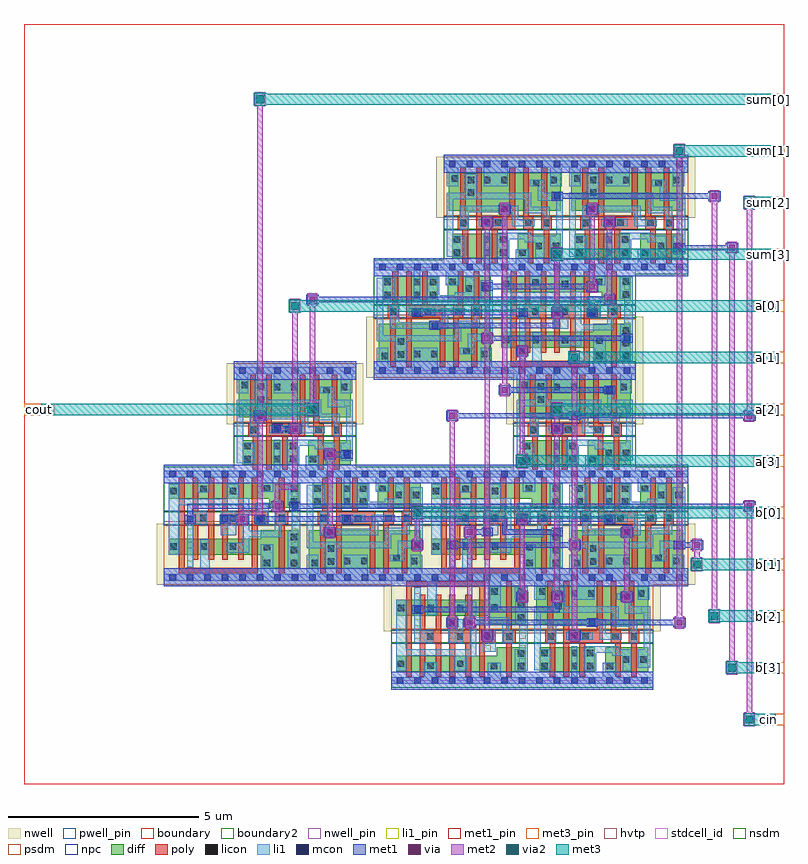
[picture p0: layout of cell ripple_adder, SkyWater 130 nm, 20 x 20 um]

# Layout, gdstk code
import gdstk
lib = gdstk.Library(unit=1e-6, precision=1e-09)
def R(c, l, rs):  # rectangles x0, y0, x1, y1
    for r in rs: c.add(gdstk.rectangle(r[:2], r[2:], *l))
def A(c, l, x, y, w, h, nx, ny, dx, dy):  # array of equal rectangles
    R(c, l, [(x+i*dx, y+j*dy, x+i*dx+w, y+j*dy+h) for i in range(nx) for j in range(ny)])
def P(c, l, *ps):  # polygons
    for p in ps: c.add(gdstk.Polygon(p, *l))
nwell_pin = (64, 16)
nwell = (64, 20)
diff = (65, 20)
poly = (66, 20)
licon = (66, 44)
li1_pin = (67, 16)
li1 = (67, 20)
mcon = (67, 44)
met1_pin = (68, 16)
met1 = (68, 20)
via = (68, 44)
met2 = (69, 20)
via2 = (69, 44)
met3_pin = (70, 16)
met3 = (70, 20)
hvtp = (78, 44)
stdcell_id = (81, 4)
nsdm = (93, 44)
psdm = (94, 20)
npc = (95, 20)
pwell_pin = (122, 16)
boundary = (235, 4)
boundary2 = (236, 0)

via_m2m3_pr = lib.new_cell('VIA_M2M3_PR')
R(via_m2m3_pr, met2, [(-0.14,-0.185,0.14,0.185)])
R(via_m2m3_pr, via2, [(-0.1,-0.1,0.1,0.1)])
R(via_m2m3_pr, met3, [(-0.165,-0.165,0.165,0.165)])

via_m1m2_pr = lib.new_cell('VIA_M1M2_PR')
R(via_m1m2_pr, met1, [(-0.16,-0.13,0.16,0.13)])
R(via_m1m2_pr, via, [(-0.075,-0.075,0.075,0.075)])
R(via_m1m2_pr, met2, [(-0.13,-0.16,0.13,0.16)])

via_l1m1_pr_mr = lib.new_cell('VIA_L1M1_PR_MR')
R(via_l1m1_pr_mr, li1, [(-0.085,-0.085,0.085,0.085)])
R(via_l1m1_pr_mr, mcon, [(-0.085,-0.085,0.085,0.085)])
R(via_l1m1_pr_mr, met1, [(-0.145,-0.115,0.145,0.115)])

sky130_fd_sc_hd__xnor2_1 = lib.new_cell('sky130_fd_sc_hd__xnor2_1')
R(sky130_fd_sc_hd__xnor2_1, nwell_pin, [(0.145,2.635,0.315,2.805)])
R(sky130_fd_sc_hd__xnor2_1, nwell, [(-0.19,1.305,3.41,2.91)])
R(sky130_fd_sc_hd__xnor2_1, diff, [(0.235,0.235,1.685,0.885), (1.955,0.235,3.085,0.885), (0.135,1.485,3.085,2.485)])
P(sky130_fd_sc_hd__xnor2_1, poly, [(2.635,0.105),(2.635,0.995),(2.575,0.995),(2.575,2.615),(2.725,2.615),(2.725,1.325),(2.845,1.325),(2.845,0.995),(2.785,0.995),(2.785,0.105)],
  [(2.215,0.105),(2.215,0.995),(2.095,0.995),(2.095,2.615),(2.245,2.615),(2.245,1.325),(2.365,1.325),(2.365,0.105)],
  [(0.855,0.105),(0.855,2.615),(1.005,2.615),(1.005,1.325),(1.735,1.325),(1.735,2.615),(1.885,2.615),(1.885,0.995),(1.425,0.995),(1.425,0.105),(1.275,0.105),(1.275,0.995),(1.005,0.995),(1.005,0.105)],
  [(0.495,0.105),(0.495,0.995),(0.375,0.995),(0.375,1.325),(0.435,1.325),(0.435,2.615),(0.585,2.615),(0.585,1.325),(0.645,1.325),(0.645,0.105)])
R(sky130_fd_sc_hd__xnor2_1, licon, [(0.275,0.305,0.445,0.475), (1.055,0.305,1.225,0.475), (1.475,0.305,1.645,0.475), (1.995,0.305,2.165,0.475), (2.415,0.47,2.585,0.64), (2.875,0.47,3.045,0.64), (0.275,0.645,0.445,0.815), (1.055,0.645,1.225,0.815), (1.475,0.645,1.645,0.815), (0.425,1.075,0.595,1.245), (1.01,1.075,1.18,1.245), (1.35,1.075,1.52,1.245), (2.145,1.075,2.315,1.245), (2.625,1.075,2.795,1.245), (0.635,1.875,0.805,2.045), (2.355,2.125,2.525,2.295), (1.055,2.205,1.225,2.375), (1.515,2.205,1.685,2.375), (2.815,2.205,2.985,2.375), (0.635,2.215,0.805,2.385), (0.215,2.255,0.385,2.425)])
R(sky130_fd_sc_hd__xnor2_1, li1_pin, [(1.065,1.105,1.235,1.275), (0.605,1.445,0.775,1.615), (2.905,1.785,3.075,1.955)])
R(sky130_fd_sc_hd__xnor2_1, li1, [(0.93,1.075,1.625,1.275)])
P(sky130_fd_sc_hd__xnor2_1, li1, [(2.815,0.345),(2.815,0.825),(2.965,0.825),(2.965,1.755),(2.475,1.755),(2.475,2.125),(2.265,2.125),(2.265,2.295),(2.645,2.295),(2.645,1.955),(3.135,1.955),(3.135,0.345)],
  [(0.085,0.28),(0.085,1.955),(0.555,1.955),(0.555,2.465),(0.885,2.465),(0.885,1.955),(2.305,1.955),(2.305,1.585),(2.795,1.585),(2.795,0.995),(2.625,0.995),(2.625,1.415),(2.135,1.415),(2.135,1.785),(0.255,1.785),(0.255,0.825),(0.55,0.825),(0.55,0.28)],
  [(1.395,0.255),(1.395,0.905),(2.305,0.905),(2.305,0.825),(2.645,0.825),(2.645,0.255),(2.415,0.255),(2.415,0.655),(2.135,0.655),(2.135,0.735),(1.725,0.735),(1.725,0.255)],
  [(0.425,0.995),(0.425,1.615),(1.965,1.615),(1.965,1.245),(2.395,1.245),(2.395,1.075),(1.795,1.075),(1.795,1.445),(0.67,1.445),(0.67,0.995)],
  [(0.085,2.125),(0.085,2.635),(0,2.635),(0,2.805),(3.22,2.805),(3.22,2.635),(3.115,2.635),(3.115,2.125),(2.815,2.125),(2.815,2.635),(1.685,2.635),(1.685,2.125),(1.055,2.125),(1.055,2.635),(0.385,2.635),(0.385,2.125)],
  [(0,-0.085),(0,0.085),(1.055,0.085),(1.055,0.905),(1.225,0.905),(1.225,0.085),(1.895,0.085),(1.895,0.475),(2.245,0.475),(2.245,0.085),(3.22,0.085),(3.22,-0.085)])
A(sky130_fd_sc_hd__xnor2_1, mcon, 0.145, -0.085, 0.17, 0.17, 7, 2, 0.46, 2.72)
R(sky130_fd_sc_hd__xnor2_1, met1_pin, [(0.145,-0.085,0.315,0.085), (0.145,2.635,0.315,2.805)])
R(sky130_fd_sc_hd__xnor2_1, hvtp, [(0,1.25,3.22,2.72)])
R(sky130_fd_sc_hd__xnor2_1, stdcell_id, [(0,0,3.22,2.72)])
R(sky130_fd_sc_hd__xnor2_1, nsdm, [(0,-0.19,3.22,1.015)])
R(sky130_fd_sc_hd__xnor2_1, psdm, [(0,1.355,3.22,2.91)])
R(sky130_fd_sc_hd__xnor2_1, npc, [(0,0.975,3.22,1.345)])
R(sky130_fd_sc_hd__xnor2_1, pwell_pin, [(0.145,-0.085,0.315,0.085)])
R(sky130_fd_sc_hd__xnor2_1, boundary2, [(0,0,3.22,2.72)])
sky130_fd_sc_hd__xnor2_1.add(gdstk.FlexPath([(0,0),(3.22,0)], 0.48, ends="flush", simple_path=True, layer=68, datatype=20))  # met1
sky130_fd_sc_hd__xnor2_1.add(gdstk.FlexPath([(0,2.72),(3.22,2.72)], 0.48, ends="flush", simple_path=True, layer=68, datatype=20))  # met1
sky130_fd_sc_hd__xnor2_1.add(gdstk.Label('B', (0.69,1.53), layer=67, texttype=5))
sky130_fd_sc_hd__xnor2_1.add(gdstk.Label('Y', (2.99,1.87), layer=67, texttype=5))
sky130_fd_sc_hd__xnor2_1.add(gdstk.Label('A', (1.15,1.19), layer=67, texttype=5))
sky130_fd_sc_hd__xnor2_1.add(gdstk.Label('VNB', (0.23,0), layer=64, texttype=59))
sky130_fd_sc_hd__xnor2_1.add(gdstk.Label('VPB', (0.23,2.72), layer=64, texttype=5))
sky130_fd_sc_hd__xnor2_1.add(gdstk.Label('VGND', (0.23,0), layer=68, texttype=5))
sky130_fd_sc_hd__xnor2_1.add(gdstk.Label('VPWR', (0.23,2.72), layer=68, texttype=5))
sky130_fd_sc_hd__xnor2_1.add(gdstk.Label('xnor2_1', (0,0), layer=83, texttype=44))

sky130_fd_sc_hd__maj3_1 = lib.new_cell('sky130_fd_sc_hd__maj3_1')
R(sky130_fd_sc_hd__maj3_1, nwell_pin, [(0.15,2.635,0.32,2.805)])
R(sky130_fd_sc_hd__maj3_1, nwell, [(-0.19,1.305,3.87,2.91)])
P(sky130_fd_sc_hd__maj3_1, diff, [(0.135,0.235),(0.135,0.655),(2.78,0.655),(2.78,0.885),(3.545,0.885),(3.545,0.235)],
  [(2.555,1.485),(2.555,1.705),(0.135,1.705),(0.135,2.125),(2.595,2.125),(2.595,2.485),(3.545,2.485),(3.545,1.485)])
P(sky130_fd_sc_hd__maj3_1, poly, [(3.03,0.105),(3.03,0.995),(2.95,0.995),(2.95,1.325),(3.03,1.325),(3.03,2.615),(3.18,2.615),(3.18,1.325),(3.28,1.325),(3.28,0.995),(3.18,0.995),(3.18,0.105)],
  [(0.395,0.105),(0.395,2.615),(2.465,2.615),(2.465,1.325),(2.74,1.325),(2.74,0.995),(2.465,0.995),(2.465,0.105),(2.315,0.105),(2.315,2.465),(0.545,2.465),(0.545,0.105)],
  [(1.535,0.105),(1.535,2.255),(1.685,2.255),(1.685,1.325),(1.955,1.325),(1.955,2.255),(2.105,2.255),(2.105,0.105),(1.955,0.105),(1.955,0.995),(1.685,0.995),(1.685,0.105)],
  [(0.755,0.105),(0.755,2.255),(0.905,2.255),(0.905,1.325),(1.175,1.325),(1.175,2.255),(1.325,2.255),(1.325,0.105),(1.175,0.105),(1.175,0.995),(0.905,0.995),(0.905,0.105)])
A(sky130_fd_sc_hd__maj3_1, licon, 3.335, 1.575, 0.17, 0.17, 1, 3, 0, 0.34)
A(sky130_fd_sc_hd__maj3_1, licon, 0.175, 1.83, 0.17, 0.17, 3, 1, 0.78, 0)
R(sky130_fd_sc_hd__maj3_1, licon, [(3.335,0.295,3.505,0.465), (2.625,0.3,2.795,0.47), (0.955,0.315,1.125,0.485), (0.175,0.36,0.345,0.53), (1.735,0.36,1.905,0.53), (3.335,0.635,3.505,0.805), (0.955,1.075,1.125,1.245), (1.735,1.075,1.905,1.245), (2.49,1.075,2.66,1.245), (3.03,1.075,3.2,1.245), (2.635,1.845,2.805,2.015), (2.635,2.255,2.805,2.425)])
A(sky130_fd_sc_hd__maj3_1, li1_pin, 0.61, 1.105, 0.17, 0.17, 4, 1, 0.92, 0)
A(sky130_fd_sc_hd__maj3_1, li1_pin, 0.61, 1.445, 0.17, 0.17, 1, 3, 0, 0.34)
R(sky130_fd_sc_hd__maj3_1, li1_pin, [(3.37,0.425,3.54,0.595), (2.45,0.765,2.62,0.935), (3.37,0.765,3.54,0.935), (1.53,1.445,1.7,1.615), (3.37,1.445,3.54,1.615), (3.37,1.785,3.54,1.955)])
R(sky130_fd_sc_hd__maj3_1, li1, [(2.415,0.765,2.755,1.325), (1.5,0.995,1.905,1.615)])
P(sky130_fd_sc_hd__maj3_1, li1, [(0.955,1.715),(0.955,2.635),(0,2.635),(0,2.805),(3.68,2.805),(3.68,2.635),(2.885,2.635),(2.885,1.845),(2.555,1.845),(2.555,2.635),(1.205,2.635),(1.205,1.715)],
  [(3.255,0.255),(3.255,0.825),(3.37,0.825),(3.37,1.495),(3.265,1.495),(3.265,2.16),(3.255,2.16),(3.255,2.465),(3.595,2.465),(3.595,0.255)],
  [(0,-0.085),(0,0.085),(0.875,0.085),(0.875,0.485),(1.205,0.485),(1.205,0.085),(2.545,0.085),(2.545,0.47),(2.88,0.47),(2.88,0.085),(3.68,0.085),(3.68,-0.085)],
  [(0.61,0.995),(0.61,2.46),(0.78,2.46),(0.78,1.325),(1.125,1.325),(1.125,0.995)],
  [(0.135,0.255),(0.135,2.125),(0.395,2.125),(0.395,0.825),(2.075,0.825),(2.075,1.815),(1.655,1.815),(1.655,2.08),(2.245,2.08),(2.245,1.665),(3.095,1.665),(3.095,1.325),(3.2,1.325),(3.2,0.995),(2.925,0.995),(2.925,1.495),(2.245,1.495),(2.245,0.64),(1.985,0.64),(1.985,0.255),(1.655,0.255),(1.655,0.655),(0.395,0.655),(0.395,0.255)])
A(sky130_fd_sc_hd__maj3_1, mcon, 0.145, -0.085, 0.17, 0.17, 8, 2, 0.46, 2.72)
R(sky130_fd_sc_hd__maj3_1, met1_pin, [(0.15,-0.085,0.32,0.085), (0.15,2.635,0.32,2.805)])
R(sky130_fd_sc_hd__maj3_1, hvtp, [(0,1.25,3.68,2.72)])
R(sky130_fd_sc_hd__maj3_1, stdcell_id, [(0,0,3.68,2.72)])
R(sky130_fd_sc_hd__maj3_1, nsdm, [(0,-0.19,3.68,1.015)])
R(sky130_fd_sc_hd__maj3_1, psdm, [(0,1.355,3.68,2.91)])
R(sky130_fd_sc_hd__maj3_1, npc, [(0,0.975,3.68,1.345)])
R(sky130_fd_sc_hd__maj3_1, pwell_pin, [(0.15,-0.085,0.32,0.085)])
R(sky130_fd_sc_hd__maj3_1, boundary2, [(0,0,3.68,2.72)])
sky130_fd_sc_hd__maj3_1.add(gdstk.FlexPath([(0,2.72),(3.68,2.72)], 0.48, ends="flush", simple_path=True, layer=68, datatype=20))  # met1
sky130_fd_sc_hd__maj3_1.add(gdstk.FlexPath([(0,0),(3.68,0)], 0.48, ends="flush", simple_path=True, layer=68, datatype=20))  # met1
sky130_fd_sc_hd__maj3_1.add(gdstk.Label('C', (2.535,1.19), layer=67, texttype=5))
sky130_fd_sc_hd__maj3_1.add(gdstk.Label('X', (3.455,0.51), layer=67, texttype=5))
sky130_fd_sc_hd__maj3_1.add(gdstk.Label('X', (3.455,0.85), layer=67, texttype=5))
sky130_fd_sc_hd__maj3_1.add(gdstk.Label('X', (3.455,1.19), layer=67, texttype=5))
sky130_fd_sc_hd__maj3_1.add(gdstk.Label('X', (3.455,1.53), layer=67, texttype=5))
sky130_fd_sc_hd__maj3_1.add(gdstk.Label('B', (1.615,1.19), layer=67, texttype=5))
sky130_fd_sc_hd__maj3_1.add(gdstk.Label('A', (0.695,1.19), layer=67, texttype=5))
sky130_fd_sc_hd__maj3_1.add(gdstk.Label('X', (3.455,1.87), layer=67, texttype=5))
sky130_fd_sc_hd__maj3_1.add(gdstk.Label('VNB', (0.235,0), layer=64, texttype=59))
sky130_fd_sc_hd__maj3_1.add(gdstk.Label('VPB', (0.235,2.72), layer=64, texttype=5))
sky130_fd_sc_hd__maj3_1.add(gdstk.Label('VGND', (0.23,0), layer=68, texttype=5))
sky130_fd_sc_hd__maj3_1.add(gdstk.Label('VPWR', (0.23,2.72), layer=68, texttype=5))
sky130_fd_sc_hd__maj3_1.add(gdstk.Label('maj3_1', (0,0), layer=83, texttype=44))

ripple_adder = lib.new_cell('ripple_adder')
A(ripple_adder, met3_pin, 19.2, 1.55, 0.8, 0.3, 1, 13, 0, 1.36)
R(ripple_adder, met3_pin, [(0,9.71,0.8,10.01)])
R(ripple_adder, boundary, [(0,0,20,20)])
ripple_adder.add(gdstk.FlexPath([(19.09,1.7),(19.78,1.7)], 0.3, ends=(0.15, 0), simple_path=True, layer=70, datatype=20))  # met3
ripple_adder.add(gdstk.FlexPath([(18.63,3.06),(19.78,3.06)], 0.3, ends=(0.15, 0), simple_path=True, layer=70, datatype=20))  # met3
ripple_adder.add(gdstk.FlexPath([(18.17,4.42),(19.78,4.42)], 0.3, ends=(0.15, 0), simple_path=True, layer=70, datatype=20))  # met3
ripple_adder.add(gdstk.FlexPath([(17.71,5.78),(19.78,5.78)], 0.3, ends=(0.15, 0), simple_path=True, layer=70, datatype=20))  # met3
ripple_adder.add(gdstk.FlexPath([(10.35,7.14),(19.78,7.14)], 0.3, ends=(0.15, 0), simple_path=True, layer=70, datatype=20))  # met3
ripple_adder.add(gdstk.FlexPath([(13.11,8.5),(19.78,8.5)], 0.3, ends=(0.15, 0), simple_path=True, layer=70, datatype=20))  # met3
ripple_adder.add(gdstk.FlexPath([(14.03,9.86),(19.78,9.86)], 0.3, ends=(0.15, 0), simple_path=True, layer=70, datatype=20))  # met3
ripple_adder.add(gdstk.FlexPath([(14.49,11.22),(19.78,11.22)], 0.3, ends=(0.15, 0), simple_path=True, layer=70, datatype=20))  # met3
ripple_adder.add(gdstk.FlexPath([(7.13,12.58),(19.78,12.58)], 0.3, ends=(0.15, 0), simple_path=True, layer=70, datatype=20))  # met3
ripple_adder.add(gdstk.FlexPath([(14.03,13.94),(19.78,13.94)], 0.3, ends=(0.15, 0), simple_path=True, layer=70, datatype=20))  # met3
ripple_adder.add(gdstk.FlexPath([(19.09,15.3),(19.78,15.3)], 0.3, ends=(0.15, 0), simple_path=True, layer=70, datatype=20))  # met3
ripple_adder.add(gdstk.FlexPath([(17.25,16.66),(19.78,16.66)], 0.3, ends=(0.15, 0), simple_path=True, layer=70, datatype=20))  # met3
ripple_adder.add(gdstk.FlexPath([(6.21,18.02),(19.78,18.02)], 0.3, ends=(0.15, 0), simple_path=True, layer=70, datatype=20))  # met3
ripple_adder.add(gdstk.FlexPath([(0.46,9.86),(7.59,9.86)], 0.3, ends=(0, 0.15), simple_path=True, layer=70, datatype=20))  # met3
ripple_adder.add(gdstk.FlexPath([(19.09,1.7),(19.09,7.31)], 0.14, ends="extended", simple_path=True, layer=69, datatype=20))  # met2
ripple_adder.add(gdstk.FlexPath([(14.95,13.09),(14.95,15.13)], 0.14, ends="extended", simple_path=True, layer=69, datatype=20))  # met2
ripple_adder.add(gdstk.FlexPath([(12.19,3.91),(12.19,14.79)], 0.14, ends="extended", simple_path=True, layer=69, datatype=20))  # met2
ripple_adder.add(gdstk.FlexPath([(12.65,10.37),(12.65,15.13)], 0.14, ends="extended", simple_path=True, layer=69, datatype=20))  # met2
ripple_adder.add(gdstk.FlexPath([(13.11,4.93),(13.11,6.97)], 0.14, ends="extended", simple_path=True, layer=69, datatype=20))  # met2
ripple_adder.add(gdstk.FlexPath([(15.87,4.93),(15.87,6.63)], 0.14, ends="extended", simple_path=True, layer=69, datatype=20))  # met2
ripple_adder.add(gdstk.FlexPath([(8.05,6.63),(8.05,8.67)], 0.14, ends="extended", simple_path=True, layer=69, datatype=20))  # met2
ripple_adder.add(gdstk.FlexPath([(18.63,3.06),(18.63,14.11)], 0.14, ends="extended", simple_path=True, layer=69, datatype=20))  # met2
ripple_adder.add(gdstk.FlexPath([(18.17,4.42),(18.17,15.47)], 0.14, ends="extended", simple_path=True, layer=69, datatype=20))  # met2
ripple_adder.add(gdstk.FlexPath([(17.71,5.78),(17.71,6.29)], 0.14, ends="extended", simple_path=True, layer=69, datatype=20))  # met2
ripple_adder.add(gdstk.FlexPath([(10.35,6.29),(10.35,7.14)], 0.14, ends="extended", simple_path=True, layer=69, datatype=20))  # met2
ripple_adder.add(gdstk.FlexPath([(13.11,8.5),(13.11,11.39)], 0.14, ends="extended", simple_path=True, layer=69, datatype=20))  # met2
ripple_adder.add(gdstk.FlexPath([(14.03,9.35),(14.03,9.86)], 0.14, ends="extended", simple_path=True, layer=69, datatype=20))  # met2
ripple_adder.add(gdstk.FlexPath([(14.03,4.93),(14.03,9.35)], 0.14, ends="extended", simple_path=True, layer=69, datatype=20))  # met2
ripple_adder.add(gdstk.FlexPath([(14.49,3.91),(14.49,11.22)], 0.14, ends="extended", simple_path=True, layer=69, datatype=20))  # met2
ripple_adder.add(gdstk.FlexPath([(7.13,9.35),(7.13,12.58)], 0.14, ends="extended", simple_path=True, layer=69, datatype=20))  # met2
ripple_adder.add(gdstk.FlexPath([(6.67,7.31),(6.67,7.82)], 0.14, ends="extended", simple_path=True, layer=69, datatype=20))  # met2
ripple_adder.add(gdstk.FlexPath([(6.67,7.82),(7.13,7.82)], 0.14, ends="extended", simple_path=True, layer=69, datatype=20))  # met2
ripple_adder.add(gdstk.FlexPath([(7.13,7.82),(7.13,9.35)], 0.14, ends="extended", simple_path=True, layer=69, datatype=20))  # met2
ripple_adder.add(gdstk.FlexPath([(14.03,12.41),(14.03,13.94)], 0.14, ends="extended", simple_path=True, layer=69, datatype=20))  # met2
ripple_adder.add(gdstk.FlexPath([(19.09,9.69),(19.09,15.3)], 0.14, ends="extended", simple_path=True, layer=69, datatype=20))  # met2
ripple_adder.add(gdstk.FlexPath([(11.27,4.25),(11.27,9.69)], 0.14, ends="extended", simple_path=True, layer=69, datatype=20))  # met2
ripple_adder.add(gdstk.FlexPath([(17.25,4.25),(17.25,16.66)], 0.14, ends="extended", simple_path=True, layer=69, datatype=20))  # met2
ripple_adder.add(gdstk.FlexPath([(11.73,4.25),(11.73,6.63)], 0.14, ends="extended", simple_path=True, layer=69, datatype=20))  # met2
ripple_adder.add(gdstk.FlexPath([(6.21,9.69),(6.21,18.02)], 0.14, ends="extended", simple_path=True, layer=69, datatype=20))  # met2
ripple_adder.add(gdstk.FlexPath([(5.75,6.97),(5.75,7.14)], 0.14, ends="extended", simple_path=True, layer=69, datatype=20))  # met2
ripple_adder.add(gdstk.FlexPath([(5.75,7.14),(6.21,7.14)], 0.14, ends="extended", simple_path=True, layer=69, datatype=20))  # met2
ripple_adder.add(gdstk.FlexPath([(6.21,7.14),(6.21,9.69)], 0.14, ends="extended", simple_path=True, layer=69, datatype=20))  # met2
ripple_adder.add(gdstk.FlexPath([(7.59,9.86),(7.59,12.75)], 0.14, ends="extended", simple_path=True, layer=69, datatype=20))  # met2
ripple_adder.add(gdstk.FlexPath([(15.41,12.75),(15.41,14.79)], 0.14, ends="extended", simple_path=True, layer=69, datatype=20))  # met2
ripple_adder.add(gdstk.FlexPath([(7.13,7.31),(19.09,7.31)], 0.14, ends="extended", simple_path=True, layer=68, datatype=20))  # met1
ripple_adder.add(gdstk.FlexPath([(12.19,13.09),(14.95,13.09)], 0.14, ends="extended", simple_path=True, layer=68, datatype=20))  # met1
ripple_adder.add(gdstk.FlexPath([(12.19,11.73),(15.87,11.73)], 0.14, ends="extended", simple_path=True, layer=68, datatype=20))  # met1
ripple_adder.add(gdstk.FlexPath([(12.65,10.37),(15.41,10.37)], 0.14, ends="extended", simple_path=True, layer=68, datatype=20))  # met1
ripple_adder.add(gdstk.FlexPath([(13.11,6.97),(15.41,6.97)], 0.14, ends="extended", simple_path=True, layer=68, datatype=20))  # met1
ripple_adder.add(gdstk.FlexPath([(8.51,6.97),(12.65,6.97)], 0.14, ends="extended", simple_path=True, layer=68, datatype=20))  # met1
ripple_adder.add(gdstk.FlexPath([(12.65,6.63),(12.65,6.97)], 0.14, ends="extended", simple_path=True, layer=68, datatype=20))  # met1
ripple_adder.add(gdstk.FlexPath([(12.65,6.63),(14.03,6.63)], 0.14, ends="extended", simple_path=True, layer=68, datatype=20))  # met1
ripple_adder.add(gdstk.FlexPath([(6.21,6.97),(8.51,6.97)], 0.14, ends="extended", simple_path=True, layer=68, datatype=20))  # met1
ripple_adder.add(gdstk.FlexPath([(8.05,8.67),(8.51,8.67)], 0.14, ends="extended", simple_path=True, layer=68, datatype=20))  # met1
ripple_adder.add(gdstk.FlexPath([(17.25,14.11),(18.63,14.11)], 0.14, ends="extended", simple_path=True, layer=68, datatype=20))  # met1
ripple_adder.add(gdstk.FlexPath([(14.03,15.47),(18.17,15.47)], 0.14, ends="extended", simple_path=True, layer=68, datatype=20))  # met1
ripple_adder.add(gdstk.FlexPath([(17.25,6.29),(17.71,6.29)], 0.14, ends="extended", simple_path=True, layer=68, datatype=20))  # met1
ripple_adder.add(gdstk.FlexPath([(10.35,12.41),(13.11,12.41)], 0.14, ends="extended", simple_path=True, layer=68, datatype=20))  # met1
ripple_adder.add(gdstk.FlexPath([(10.35,4.59),(14.03,4.59)], 0.14, ends="extended", simple_path=True, layer=68, datatype=20))  # met1
ripple_adder.add(gdstk.FlexPath([(14.03,4.59),(14.03,4.93)], 0.14, ends="extended", simple_path=True, layer=68, datatype=20))  # met1
ripple_adder.add(gdstk.FlexPath([(11.27,6.29),(14.49,6.29)], 0.14, ends="extended", simple_path=True, layer=68, datatype=20))  # met1
ripple_adder.add(gdstk.FlexPath([(6.67,9.35),(7.13,9.35)], 0.14, ends="extended", simple_path=True, layer=68, datatype=20))  # met1
ripple_adder.add(gdstk.FlexPath([(4.37,6.97),(4.37,7.31)], 0.14, ends="extended", simple_path=True, layer=68, datatype=20))  # met1
ripple_adder.add(gdstk.FlexPath([(4.37,7.31),(6.67,7.31)], 0.14, ends="extended", simple_path=True, layer=68, datatype=20))  # met1
ripple_adder.add(gdstk.FlexPath([(10.81,12.07),(14.03,12.07)], 0.14, ends="extended", simple_path=True, layer=68, datatype=20))  # met1
ripple_adder.add(gdstk.FlexPath([(14.03,12.07),(14.03,12.41)], 0.14, ends="extended", simple_path=True, layer=68, datatype=20))  # met1
ripple_adder.add(gdstk.FlexPath([(14.49,9.69),(19.09,9.69)], 0.14, ends="extended", simple_path=True, layer=68, datatype=20))  # met1
ripple_adder.add(gdstk.FlexPath([(11.27,9.69),(14.49,9.69)], 0.14, ends="extended", simple_path=True, layer=68, datatype=20))  # met1
ripple_adder.add(gdstk.FlexPath([(14.95,4.25),(17.25,4.25)], 0.14, ends="extended", simple_path=True, layer=68, datatype=20))  # met1
ripple_adder.add(gdstk.FlexPath([(11.73,6.63),(12.19,6.63)], 0.14, ends="extended", simple_path=True, layer=68, datatype=20))  # met1
ripple_adder.add(gdstk.FlexPath([(11.73,4.25),(14.95,4.25)], 0.14, ends="extended", simple_path=True, layer=68, datatype=20))  # met1
ripple_adder.add(gdstk.FlexPath([(5.29,6.97),(5.75,6.97)], 0.14, ends="extended", simple_path=True, layer=68, datatype=20))  # met1
ripple_adder.add(gdstk.FlexPath([(14.95,12.41),(14.95,12.75)], 0.14, ends="extended", simple_path=True, layer=68, datatype=20))  # met1
ripple_adder.add(gdstk.FlexPath([(7.59,12.75),(14.95,12.75)], 0.14, ends="extended", simple_path=True, layer=68, datatype=20))  # met1
ripple_adder.add(gdstk.FlexPath([(14.95,12.75),(15.41,12.75)], 0.14, ends="extended", simple_path=True, layer=68, datatype=20))  # met1
ripple_adder.add(gdstk.Reference(via_m2m3_pr, (18.63,3.06)))
ripple_adder.add(gdstk.Reference(via_m2m3_pr, (14.03,9.86)))
ripple_adder.add(gdstk.Reference(via_m2m3_pr, (18.17,4.42)))
ripple_adder.add(gdstk.Reference(via_m2m3_pr, (17.71,5.78)))
ripple_adder.add(gdstk.Reference(via_m2m3_pr, (10.35,7.14)))
ripple_adder.add(gdstk.Reference(via_m2m3_pr, (13.11,8.5)))
ripple_adder.add(gdstk.Reference(via_m2m3_pr, (19.09,1.7)))
ripple_adder.add(gdstk.Reference(via_m2m3_pr, (14.49,11.22)))
ripple_adder.add(gdstk.Reference(via_m2m3_pr, (7.13,12.58)))
ripple_adder.add(gdstk.Reference(via_m2m3_pr, (14.03,13.94)))
ripple_adder.add(gdstk.Reference(via_m2m3_pr, (19.09,15.3)))
ripple_adder.add(gdstk.Reference(via_m2m3_pr, (17.25,16.66)))
ripple_adder.add(gdstk.Reference(via_m2m3_pr, (6.21,18.02)))
ripple_adder.add(gdstk.Reference(via_m2m3_pr, (7.59,9.86)))
ripple_adder.add(gdstk.Reference(via_m1m2_pr, (12.65,10.37)))
ripple_adder.add(gdstk.Reference(via_m1m2_pr, (15.41,12.75)))
ripple_adder.add(gdstk.Reference(via_m1m2_pr, (15.41,14.79)))
ripple_adder.add(gdstk.Reference(via_m1m2_pr, (13.11,4.93)))
ripple_adder.add(gdstk.Reference(via_m1m2_pr, (14.03,4.93)))
ripple_adder.add(gdstk.Reference(via_m1m2_pr, (7.59,12.75)))
ripple_adder.add(gdstk.Reference(via_m1m2_pr, (14.49,3.91)))
ripple_adder.add(gdstk.Reference(via_m1m2_pr, (5.75,6.97)))
ripple_adder.add(gdstk.Reference(via_m1m2_pr, (14.49,6.29)))
ripple_adder.add(gdstk.Reference(via_m1m2_pr, (7.13,9.35)))
ripple_adder.add(gdstk.Reference(via_m1m2_pr, (13.11,6.97)))
ripple_adder.add(gdstk.Reference(via_m1m2_pr, (14.03,9.35)))
ripple_adder.add(gdstk.Reference(via_m1m2_pr, (6.67,7.31)))
ripple_adder.add(gdstk.Reference(via_m1m2_pr, (6.21,9.69)))
ripple_adder.add(gdstk.Reference(via_m1m2_pr, (14.03,12.41)))
ripple_adder.add(gdstk.Reference(via_m1m2_pr, (11.73,4.25)))
ripple_adder.add(gdstk.Reference(via_m1m2_pr, (11.73,6.63)))
ripple_adder.add(gdstk.Reference(via_m1m2_pr, (19.09,9.69)))
ripple_adder.add(gdstk.Reference(via_m1m2_pr, (12.65,15.13)))
ripple_adder.add(gdstk.Reference(via_m1m2_pr, (11.27,4.25)))
ripple_adder.add(gdstk.Reference(via_m1m2_pr, (11.27,9.69)))
ripple_adder.add(gdstk.Reference(via_m1m2_pr, (17.25,4.25)))
ripple_adder.add(gdstk.Reference(via_m1m2_pr, (13.11,11.39)))
ripple_adder.add(gdstk.Reference(via_m1m2_pr, (19.09,7.31)))
ripple_adder.add(gdstk.Reference(via_m1m2_pr, (8.05,6.63)))
ripple_adder.add(gdstk.Reference(via_m1m2_pr, (8.05,8.67)))
ripple_adder.add(gdstk.Reference(via_m1m2_pr, (14.95,13.09)))
ripple_adder.add(gdstk.Reference(via_m1m2_pr, (15.87,6.63)))
ripple_adder.add(gdstk.Reference(via_m1m2_pr, (18.63,14.11)))
ripple_adder.add(gdstk.Reference(via_m1m2_pr, (14.95,15.13)))
ripple_adder.add(gdstk.Reference(via_m1m2_pr, (18.17,15.47)))
ripple_adder.add(gdstk.Reference(via_m1m2_pr, (15.87,4.93)))
ripple_adder.add(gdstk.Reference(via_m1m2_pr, (17.71,6.29)))
ripple_adder.add(gdstk.Reference(via_m1m2_pr, (12.19,11.73)))
ripple_adder.add(gdstk.Reference(via_m1m2_pr, (12.19,3.91)))
ripple_adder.add(gdstk.Reference(via_m1m2_pr, (10.35,6.29)))
ripple_adder.add(gdstk.Reference(via_m1m2_pr, (12.19,14.79)))
ripple_adder.add(gdstk.Reference(via_l1m1_pr_mr, (15.41,10.37)))
ripple_adder.add(gdstk.Reference(via_l1m1_pr_mr, (12.65,15.13)))
ripple_adder.add(gdstk.Reference(via_l1m1_pr_mr, (7.13,7.31)))
ripple_adder.add(gdstk.Reference(via_l1m1_pr_mr, (12.19,13.09)))
ripple_adder.add(gdstk.Reference(via_l1m1_pr_mr, (12.19,6.63)))
ripple_adder.add(gdstk.Reference(via_l1m1_pr_mr, (15.41,14.79)))
ripple_adder.add(gdstk.Reference(via_l1m1_pr_mr, (14.03,12.41)))
ripple_adder.add(gdstk.Reference(via_l1m1_pr_mr, (15.87,11.73)))
ripple_adder.add(gdstk.Reference(via_l1m1_pr_mr, (6.21,9.69)))
ripple_adder.add(gdstk.Reference(via_l1m1_pr_mr, (14.95,15.13)))
ripple_adder.add(gdstk.Reference(via_l1m1_pr_mr, (12.19,3.91)))
ripple_adder.add(gdstk.Reference(via_l1m1_pr_mr, (12.19,14.79)))
ripple_adder.add(gdstk.Reference(via_l1m1_pr_mr, (14.95,12.41)))
ripple_adder.add(gdstk.Reference(via_l1m1_pr_mr, (5.29,6.97)))
ripple_adder.add(gdstk.Reference(via_l1m1_pr_mr, (13.11,12.41)))
ripple_adder.add(gdstk.Reference(via_l1m1_pr_mr, (14.03,6.63)))
ripple_adder.add(gdstk.Reference(via_l1m1_pr_mr, (6.21,6.97)))
ripple_adder.add(gdstk.Reference(via_l1m1_pr_mr, (8.05,6.63)))
ripple_adder.add(gdstk.Reference(via_l1m1_pr_mr, (8.51,8.67)))
ripple_adder.add(gdstk.Reference(via_l1m1_pr_mr, (17.25,14.11)))
ripple_adder.add(gdstk.Reference(via_l1m1_pr_mr, (15.87,6.63)))
ripple_adder.add(gdstk.Reference(via_l1m1_pr_mr, (14.03,15.47)))
ripple_adder.add(gdstk.Reference(via_l1m1_pr_mr, (17.25,6.29)))
ripple_adder.add(gdstk.Reference(via_l1m1_pr_mr, (15.87,4.93)))
ripple_adder.add(gdstk.Reference(via_l1m1_pr_mr, (10.35,6.29)))
ripple_adder.add(gdstk.Reference(via_l1m1_pr_mr, (13.11,11.39)))
ripple_adder.add(gdstk.Reference(via_l1m1_pr_mr, (15.41,6.97)))
ripple_adder.add(gdstk.Reference(via_l1m1_pr_mr, (10.35,12.41)))
ripple_adder.add(gdstk.Reference(via_l1m1_pr_mr, (14.95,4.25)))
ripple_adder.add(gdstk.Reference(via_l1m1_pr_mr, (14.03,9.35)))
ripple_adder.add(gdstk.Reference(via_l1m1_pr_mr, (10.35,4.59)))
ripple_adder.add(gdstk.Reference(via_l1m1_pr_mr, (14.49,3.91)))
ripple_adder.add(gdstk.Reference(via_l1m1_pr_mr, (13.11,4.93)))
ripple_adder.add(gdstk.Reference(via_l1m1_pr_mr, (11.27,6.29)))
ripple_adder.add(gdstk.Reference(via_l1m1_pr_mr, (6.67,9.35)))
ripple_adder.add(gdstk.Reference(via_l1m1_pr_mr, (4.37,6.97)))
ripple_adder.add(gdstk.Reference(via_l1m1_pr_mr, (8.51,6.97)))
ripple_adder.add(gdstk.Reference(via_l1m1_pr_mr, (13.11,6.97)))
ripple_adder.add(gdstk.Reference(via_l1m1_pr_mr, (10.81,12.07)))
ripple_adder.add(gdstk.Reference(via_l1m1_pr_mr, (14.49,9.69)))
ripple_adder.add(gdstk.Reference(via_l1m1_pr_mr, (11.27,4.25)))
ripple_adder.add(gdstk.Reference(sky130_fd_sc_hd__xnor2_1, (14.26,13.6)))
ripple_adder.add(gdstk.Reference(sky130_fd_sc_hd__xnor2_1, (11.04,13.6)))
ripple_adder.add(gdstk.Reference(sky130_fd_sc_hd__xnor2_1, (5.52,8.16)))
ripple_adder.add(gdstk.Reference(sky130_fd_sc_hd__xnor2_1, (12.88,8.16)))
ripple_adder.add(gdstk.Reference(sky130_fd_sc_hd__xnor2_1, (13.34,2.72)))
ripple_adder.add(gdstk.Reference(sky130_fd_sc_hd__xnor2_1, (14.26,8.16), x_reflection=True))
ripple_adder.add(gdstk.Reference(sky130_fd_sc_hd__xnor2_1, (7.36,8.16), x_reflection=True))
ripple_adder.add(gdstk.Reference(sky130_fd_sc_hd__xnor2_1, (9.2,13.6), x_reflection=True))
ripple_adder.add(gdstk.Reference(sky130_fd_sc_hd__maj3_1, (9.66,2.72)))
ripple_adder.add(gdstk.Reference(sky130_fd_sc_hd__maj3_1, (10.58,8.16), x_reflection=True))
ripple_adder.add(gdstk.Reference(sky130_fd_sc_hd__maj3_1, (12.42,13.6), x_reflection=True))
ripple_adder.add(gdstk.Reference(sky130_fd_sc_hd__maj3_1, (3.68,8.16), x_reflection=True))
ripple_adder.add(gdstk.Label('a[0]', (19.6,12.58), layer=70, texttype=5))
ripple_adder.add(gdstk.Label('a[1]', (19.6,11.22), layer=70, texttype=5))
ripple_adder.add(gdstk.Label('a[2]', (19.6,9.86), layer=70, texttype=5))
ripple_adder.add(gdstk.Label('a[3]', (19.6,8.5), layer=70, texttype=5))
ripple_adder.add(gdstk.Label('b[0]', (19.6,7.14), layer=70, texttype=5))
ripple_adder.add(gdstk.Label('b[1]', (19.6,5.78), layer=70, texttype=5))
ripple_adder.add(gdstk.Label('b[2]', (19.6,4.42), layer=70, texttype=5))
ripple_adder.add(gdstk.Label('b[3]', (19.6,3.06), layer=70, texttype=5))
ripple_adder.add(gdstk.Label('cin', (19.6,1.7), layer=70, texttype=5))
ripple_adder.add(gdstk.Label('cout', (0.4,9.86), layer=70, texttype=5))
ripple_adder.add(gdstk.Label('sum[0]', (19.6,18.02), layer=70, texttype=5))
ripple_adder.add(gdstk.Label('sum[1]', (19.6,16.66), layer=70, texttype=5))
ripple_adder.add(gdstk.Label('sum[2]', (19.6,15.3), layer=70, texttype=5))
ripple_adder.add(gdstk.Label('sum[3]', (19.6,13.94), layer=70, texttype=5))

lib.write_gds('ripple_adder.gds')
